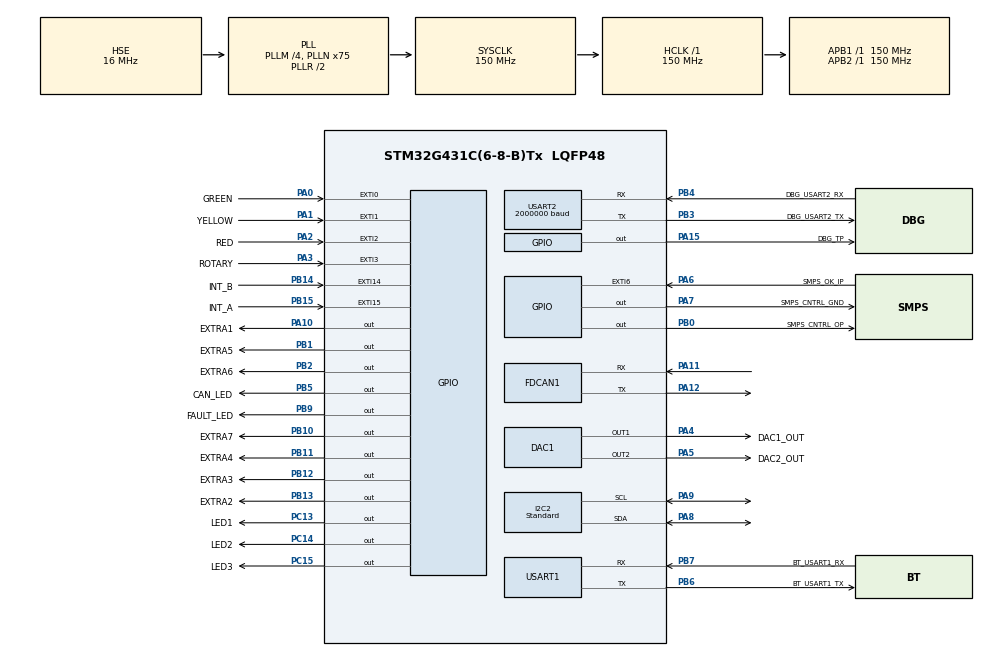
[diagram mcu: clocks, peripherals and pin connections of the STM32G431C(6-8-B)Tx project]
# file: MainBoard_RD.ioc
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DAC1.DAC_Channel-DAC_OUT2=DAC_CHANNEL_2
Dma.Request0=USART1_RX
Dma.Request1=USART2_TX
Dma.USART1_RX.0.Direction=DMA_PERIPH_TO_MEMORY
Dma.USART1_RX.0.EventEnable=DISABLE
Dma.USART1_RX.0.Instance=DMA1_Channel1
Dma.USART1_RX.0.MemDataAlignment=DMA_MDATAALIGN_BYTE
Dma.USART1_RX.0.MemInc=DMA_MINC_ENABLE
Dma.USART1_RX.0.Mode=DMA_NORMAL
Dma.USART1_RX.0.PeriphDataAlignment=DMA_PDATAALIGN_BYTE
Dma.USART1_RX.0.PeriphInc=DMA_PINC_DISABLE
Dma.USART1_RX.0.Polarity=HAL_DMAMUX_REQ_GEN_RISING
Dma.USART1_RX.0.Priority=DMA_PRIORITY_LOW
Dma.USART1_RX.0.RequestNumber=1
Dma.USART1_RX.0.SignalID=NONE
Dma.USART1_RX.0.SyncEnable=DISABLE
Dma.USART1_RX.0.SyncPolarity=HAL_DMAMUX_SYNC_NO_EVENT
Dma.USART1_RX.0.SyncRequestNumber=1
Dma.USART1_RX.0.SyncSignalID=NONE
Dma.USART2_TX.1.Direction=DMA_MEMORY_TO_PERIPH
Dma.USART2_TX.1.EventEnable=DISABLE
Dma.USART2_TX.1.Instance=DMA1_Channel2
Dma.USART2_TX.1.MemDataAlignment=DMA_MDATAALIGN_BYTE
Dma.USART2_TX.1.MemInc=DMA_MINC_ENABLE
Dma.USART2_TX.1.Mode=DMA_NORMAL
Dma.USART2_TX.1.PeriphDataAlignment=DMA_PDATAALIGN_BYTE
Dma.USART2_TX.1.PeriphInc=DMA_PINC_DISABLE
Dma.USART2_TX.1.Polarity=HAL_DMAMUX_REQ_GEN_RISING
Dma.USART2_TX.1.Priority=DMA_PRIORITY_LOW
Dma.USART2_TX.1.RequestNumber=1
Dma.USART2_TX.1.SignalID=NONE
Dma.USART2_TX.1.SyncEnable=DISABLE
Dma.USART2_TX.1.SyncPolarity=HAL_DMAMUX_SYNC_NO_EVENT
Dma.USART2_TX.1.SyncRequestNumber=1
Dma.USART2_TX.1.SyncSignalID=NONE
FDCAN1.AutoRetransmission=ENABLE
FDCAN1.CalculateBaudRateNominal=5000000
FDCAN1.CalculateTimeBitNominal=200
FDCAN1.CalculateTimeQuantumNominal=6.666666666666667
FDCAN1.ClockDivider=FDCAN_CLOCK_DIV10
FDCAN1.DataSyncJumpWidth=3
FDCAN1.DataTimeSeg1=11
FDCAN1.DataTimeSeg2=3
FDCAN1.ExtFiltersNbr=1
FDCAN1.FrameFormat=FDCAN_FRAME_FD_BRS
FDCAN1.NominalPrescaler=1
FDCAN1.NominalSyncJumpWidth=6
FDCAN1.NominalTimeSeg1=23
FDCAN1.NominalTimeSeg2=6
FDCAN1.ProtocolException=DISABLE
FDCAN1.StdFiltersNbr=1
FDCAN1.TransmitPause=ENABLE
I2C2.Analog_Filter=I2C_ANALOGFILTER_DISABLE
I2C2.I2C_Fall_Time=200
I2C2.I2C_Rise_Time=300
I2C2.I2C_Speed_Mode=I2C_Standard
I2C2.NoStretchMode=I2C_NOSTRETCH_DISABLE
I2C2.Speed=50
I2C2.Timing=0x50D4E6FF
Mcu.Family=STM32G4
Mcu.Name=STM32G431C(6-8-B)Tx
Mcu.Package=LQFP48
NVIC.DMA1_Channel1_IRQn=true\:3\:0\:true\:false\:true\:false\:true\:true
NVIC.DMA1_Channel2_IRQn=true\:3\:0\:true\:false\:true\:false\:true\:true
NVIC.EXTI0_IRQn=true\:2\:0\:true\:false\:true\:true\:true\:true
NVIC.EXTI15_10_IRQn=true\:3\:0\:true\:false\:true\:true\:true\:true
NVIC.EXTI1_IRQn=true\:2\:0\:true\:false\:true\:true\:true\:true
NVIC.EXTI2_IRQn=true\:2\:0\:true\:false\:true\:true\:true\:true
NVIC.EXTI3_IRQn=true\:2\:0\:true\:false\:true\:true\:true\:true
NVIC.EXTI9_5_IRQn=true\:2\:0\:true\:false\:true\:true\:true\:true
NVIC.FDCAN1_IT0_IRQn=true\:0\:0\:false\:false\:true\:true\:true\:true
NVIC.PriorityGroup=NVIC_PRIORITYGROUP_4
NVIC.TIM1_BRK_TIM15_IRQn=true\:0\:0\:false\:false\:true\:true\:true\:true
NVIC.TIM1_TRG_COM_TIM17_IRQn=true\:5\:0\:true\:false\:true\:true\:true\:true
NVIC.TIM1_UP_TIM16_IRQn=true\:1\:0\:true\:false\:true\:true\:true\:true
NVIC.TIM6_DAC_IRQn=true\:0\:0\:false\:false\:true\:true\:true\:true
NVIC.TIM7_IRQn=true\:0\:0\:false\:false\:true\:true\:true\:true
NVIC.USART1_IRQn=true\:1\:0\:true\:false\:true\:true\:true\:true
NVIC.USART2_IRQn=true\:15\:0\:true\:false\:true\:true\:true\:true
PA0.GPIO_Label=GREEN
PA0.GPIO_ModeDefaultEXTI=GPIO_MODE_IT_RISING_FALLING
PA0.GPIO_PuPd=GPIO_PULLUP
PA0.Signal=GPXTI0
PA1.GPIO_Label=YELLOW
PA1.GPIO_ModeDefaultEXTI=GPIO_MODE_IT_RISING_FALLING
PA1.GPIO_PuPd=GPIO_PULLUP
PA1.Signal=GPXTI1
PA10.GPIO_Label=EXTRA1
PA10.Signal=GPIO_Output
PA11.Mode=FDCAN_Activate
PA11.Signal=FDCAN1_RX
PA12.Mode=FDCAN_Activate
PA12.Signal=FDCAN1_TX
PA13.Mode=Serial_Wire
PA13.Signal=SYS_JTMS-SWDIO
PA14.Mode=Serial_Wire
PA14.Signal=SYS_JTCK-SWCLK
PA15.GPIO_Label=DBG_TP
PA15.Signal=GPIO_Output
PA2.GPIO_Label=RED
PA2.GPIO_ModeDefaultEXTI=GPIO_MODE_IT_RISING_FALLING
PA2.GPIO_PuPd=GPIO_PULLUP
PA2.Signal=GPXTI2
PA3.GPIO_Label=ROTARY
PA3.GPIO_ModeDefaultEXTI=GPIO_MODE_IT_RISING_FALLING
PA3.GPIO_PuPd=GPIO_PULLUP
PA3.Signal=GPXTI3
PA4.GPIO_Label=DAC1_OUT
PA4.Signal=COMP_DAC11_group
PA5.GPIO_Label=DAC2_OUT
PA5.Signal=COMP_DAC12_group
PA6.GPIO_Label=SMPS_OK_IP
PA6.GPIO_ModeDefaultEXTI=GPIO_MODE_IT_RISING_FALLING
PA6.Signal=GPXTI6
PA7.GPIO_Label=SMPS_CNTRL_GND
PA7.Signal=GPIO_Output
PA8.Mode=I2C
PA8.Signal=I2C2_SDA
PA9.Mode=I2C
PA9.Signal=I2C2_SCL
PB0.GPIO_Label=SMPS_CNTRL_OP
PB0.Signal=GPIO_Output
PB1.GPIO_Label=EXTRA5
PB1.Signal=GPIO_Output
PB10.GPIO_Label=EXTRA7
PB10.Signal=GPIO_Output
PB11.GPIO_Label=EXTRA4
PB11.Signal=GPIO_Output
PB12.GPIO_Label=EXTRA3
PB12.Signal=GPIO_Output
PB13.GPIO_Label=EXTRA2
PB13.Signal=GPIO_Output
PB14.GPIO_Label=INT_B
PB14.GPIO_ModeDefaultEXTI=GPIO_MODE_IT_FALLING
PB14.Signal=GPXTI14
PB15.GPIO_Label=INT_A
PB15.GPIO_ModeDefaultEXTI=GPIO_MODE_IT_FALLING
PB15.Signal=GPXTI15
PB2.GPIO_Label=EXTRA6
PB2.Signal=GPIO_Output
PB3.GPIO_Label=DBG_USART2_TX
PB3.Mode=Asynchronous
PB3.Signal=USART2_TX
PB4.GPIO_Label=DBG_USART2_RX
PB4.Mode=Asynchronous
PB4.Signal=USART2_RX
PB5.GPIO_Label=CAN_LED
PB5.Signal=GPIO_Output
PB6.GPIO_Label=BT_USART1_TX
PB6.Mode=Asynchronous
PB6.Signal=USART1_TX
PB7.GPIO_Label=BT_USART1_RX
PB7.Mode=Asynchronous
PB7.Signal=USART1_RX
PB9.GPIO_Label=FAULT_LED
PB9.Signal=GPIO_Output
PC13.GPIO_Label=LED1
PC13.GPIO_ModeDefaultOutputPP=GPIO_MODE_OUTPUT_PP
PC13.GPIO_PuPd=GPIO_NOPULL
PC13.Signal=GPIO_Output
PC14-OSC32_IN.GPIO_Label=LED2
PC14-OSC32_IN.GPIO_ModeDefaultOutputPP=GPIO_MODE_OUTPUT_PP
PC14-OSC32_IN.GPIO_PuPd=GPIO_NOPULL
PC14-OSC32_IN.Signal=GPIO_Output
PC15-OSC32_OUT.GPIO_Label=LED3
PC15-OSC32_OUT.GPIO_ModeDefaultOutputPP=GPIO_MODE_OUTPUT_PP
PC15-OSC32_OUT.GPIO_PuPd=GPIO_NOPULL
PC15-OSC32_OUT.Signal=GPIO_Output
PF0-OSC_IN.Mode=HSE-External-Oscillator
PF0-OSC_IN.Signal=RCC_OSC_IN
PF1-OSC_OUT.Mode=HSE-External-Oscillator
PF1-OSC_OUT.Signal=RCC_OSC_OUT
ProjectManager.HeapSize=0x200
ProjectManager.StackSize=0x400
ProjectManager.TargetToolchain=STM32CubeIDE
RCC.ADC12Freq_Value=150000000
RCC.AHBFreq_Value=150000000
RCC.APB1Freq_Value=150000000
RCC.APB1TimFreq_Value=150000000
RCC.APB2Freq_Value=150000000
RCC.APB2TimFreq_Value=150000000
RCC.CortexFreq_Value=150000000
RCC.EXTERNAL_CLOCK_VALUE=12288000
RCC.HCLKFreq_Value=150000000
RCC.HSE_VALUE=16000000
RCC.HSI48_VALUE=48000000
RCC.HSI_VALUE=16000000
RCC.LSE_VALUE=32768
RCC.PLLM=RCC_PLLM_DIV4
RCC.PLLN=75
RCC.PLLSourceVirtual=RCC_PLLSOURCE_HSE
RCC.SYSCLKFreq_VALUE=150000000
RCC.SYSCLKSource=RCC_SYSCLKSOURCE_PLLCLK
RCC.USBFreq_Value=150000000
RCC.VCOOutputFreq_Value=300000000
SH.COMP_DAC11_group.0=DAC1_OUT1,DAC_OUT1
SH.COMP_DAC12_group.0=DAC1_OUT2,DAC_OUT2
TIM15.PeriodNoDither=24999
TIM15.Prescaler=1499
TIM16.AutoReloadPreload=TIM_AUTORELOAD_PRELOAD_ENABLE
TIM16.Dithering=Disable
TIM16.PeriodNoDither=4999
TIM16.Prescaler=29999
TIM17.AutoReloadPreload=TIM_AUTORELOAD_PRELOAD_ENABLE
TIM17.PeriodNoDither=1499
TIM17.Prescaler=1499
TIM6.PeriodNoDither=49999
TIM6.Prescaler=1499
TIM7.PeriodNoDither=9999
TIM7.Prescaler=1499
USART1.DMADisableonRxErrorParam=ADVFEATURE_DMA_DISABLEONRXERROR
USART1.OverrunDisableParam=ADVFEATURE_OVERRUN_DISABLE
USART1.SwapParam=ADVFEATURE_SWAP_ENABLE
USART1.VirtualMode-Asynchronous=VM_ASYNC
USART2.BaudRate=2000000
USART2.VirtualMode-Asynchronous=VM_ASYNC
VP_TIM15_VS_ClockSourceINT.Mode=Internal
VP_TIM16_VS_ClockSourceINT.Mode=Enable_Timer
VP_TIM17_VS_ClockSourceINT.Mode=Enable_Timer
VP_TIM6_VS_ClockSourceINT.Mode=Enable_Timer
VP_TIM7_VS_ClockSourceINT.Mode=Enable_Timer
board=custom

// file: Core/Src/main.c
/* USER CODE BEGIN Header */
/**
  ******************************************************************************
  * @file           : main.c
  * @brief          : Main program body
  ******************************************************************************
  * @attention
  *
  * Copyright (c) 2022 STMicroelectronics.
  * All rights reserved.
  *
  * This software is licensed under terms that can be found in the LICENSE file
  * in the root directory of this software component.
  * If no LICENSE file comes with this software, it is provided AS-IS.
  *
  ******************************************************************************
  */
/* USER CODE END Header */
#include "main.h"

/* USER CODE BEGIN Includes */
#include "FDCAN.h"
#include "CAN_MotherBoard.h"
#include "Ack.h"

#include "machineSettings.h"
#include "MachineErrors.h"
#include "MotorComms.h"
#include "SysObserver.h"

#include "VFD.h"
#include "userButtons.h"
#include "TowerLamp.h"
#include "SMPS.h"
#include "MachineSensors.h"
#include "mcp23017.h"
#include "Eeprom.h"
#include "Log.h"

#include "Struct.h"
#include "StateMachine.h"
#include "CommonConstants.h"

#include "BT_Fns.h"
#include "BT_Machine.h"
#include "BT_Console.h"

#include "MB_LEDs.h"

/* USER CODE END Includes */

/* USER CODE BEGIN PTD */
#define MCP23017_ADDRESS	0x21
/* USER CODE END PTD */

DAC_HandleTypeDef hdac1;

FDCAN_HandleTypeDef hfdcan1;

I2C_HandleTypeDef hi2c2;

TIM_HandleTypeDef htim6;
TIM_HandleTypeDef htim7;
TIM_HandleTypeDef htim15;
TIM_HandleTypeDef htim16;
TIM_HandleTypeDef htim17;

UART_HandleTypeDef huart1;
UART_HandleTypeDef huart2;
DMA_HandleTypeDef hdma_usart1_rx;
DMA_HandleTypeDef hdma_usart2_tx;

/* USER CODE BEGIN PV */
machineSettingsTypeDef msp;
machineSettingsTypeDef msp_BT;
machineParamsTypeDef mcParams;
MBErrorsTypeDef MBE;
MachineErrorsTypedef ME;

SetupMotor SU[3];
ACKTypeDef ack;

StateTypeDef S;
DiagnosticsTypeDef D;
RunTime_TypeDef R[6]; // always keep this as 6, as max is 6 for carding

SysObserver SO;
BTRecvMsg_TypeDef BT;
BTConsole BTCmd;
GB_diag GBD;

userBtns usrBtns;
MCP23017_HandleTypeDef hmcp;
MCP23017_PortB mcp_portB;
MCP23017_PortA mcp_portA;
MCP23017_PortB mcp_portB_whichSensor;
MCP23017_PortB mcp_portB_sensorVal;
SensorTypeDef sensor;
VFD vfd;
Log L;

char BufferRec[150];
char BufferTransmit[150] ;// Buffer for Transmit
char LogBuffer[2048];

/* USER CODE END PV */

void SystemClock_Config(void);
static void MX_GPIO_Init(void);
static void MX_DMA_Init(void);
static void MX_FDCAN1_Init(void);
static void MX_USART1_UART_Init(void);
static void MX_DAC1_Init(void);
static void MX_USART2_UART_Init(void);
static void MX_I2C2_Init(void);
static void MX_TIM17_Init(void);
static void MX_TIM16_Init(void);
static void MX_TIM15_Init(void);
static void MX_TIM7_Init(void);
static void MX_TIM6_Init(void);

/* USER CODE BEGIN 0 */

uint8_t stopSMPS = 0;
uint8_t timer7Count = 0;

void HAL_TIM_PeriodElapsedCallback(TIM_HandleTypeDef *htim)
{
  UNUSED(htim);
  if(htim==&htim17){	// ACK TIMER - 15ms
	ack.waitingForAckResult = 0;
	if (ack.motorAcksCheck == ack.motorAcksRecvd){
		ack.ackResult = ACK_SUCCESS;
	}else{
		ack.ackResult = ACK_FAIL;
		if (ack.ackChkType == CRITICAL_ACK){
			ME.ErrorFlag = 1;
			ME_addErrors(&ME,ERR_SYSTEM_LEVEL_SOURCE, SYS_ACK_ERROR, ERROR_SOURCE_SYSTEM, ack.ackForWhat); // maybe later find out which ACK failed.
			S.SMPS_switchOff = 1;
		}
	}
	HAL_TIM_Base_Stop_IT(&htim17);
  }

  if (htim == &htim16){ // 1 sec timer that checks if the CAN connections are all OK.
	  SO.canOverallStatus = SO_checkCanObservers(&SO); // FOR RD weve set the threshold to 2,and seen that 4, during binding end is what we get.
	  /*if (SO.canOverallStatus != ALL_CANS_HEALTHY){
		  ME.ErrorFlag = 1;
		  ME_addErrors(&ME,ERR_SYSTEM_LEVEL_SOURCE,SYS_CAN_CUT_ERROR, SO.canOverallStatus, 0); // maybe later find out which ACK failed.
		  S.SMPS_switchOff = 1;
		  //stp the timer if you find you have an error.
		  HAL_TIM_Base_Stop_IT(&htim16);
	  }*/
  }

  if(htim==&htim15){
	  // This is meant to send motor run time data to the app when diag is running.
	  // only 1 motor, the calender roller, other wise lift both.
	  if (D.motorID > 7){
		  uint8_t packetSize = BT_MC_generateDiagnosticMsg(D.motorID);
		  HAL_UART_Transmit_IT(&huart1,(uint8_t*)BufferTransmit,packetSize);
	  }
	  else{
		  // finding which motors happens inside.
		  uint8_t packetSize = BT_MC_generateDiagnosticMsg_DoubleMotors(D.motorID);
		  HAL_UART_Transmit_IT(&huart1,(uint8_t*)BufferTransmit,packetSize);
	  }
  }

  if(htim == &htim7){ //100ms timer for state sending to BT
	  timer7Count ++;
	  if (timer7Count % 5 == 0){
		  S.BT_sendState = 1;
	  }
	  if (timer7Count == 10){
		  S.oneSecTimer++;
		  timer7Count = 0;
		  Toggle_State_LEDs(&S);
		  //calculate doff Percent
		  mcParams.doffPercent = (((float)mcParams.currentStrokeNo)/mcParams.RD.strokesPerDoff)*100.0;
		  if (mcParams.doffPercent <0.01){
			  mcParams.doffPercent = 0.01;
		  }
		  if (S.runMode == RUN_OPERATING){
			  mcParams.lengthDeliveredPerSpindle += mcParams.RD.delivery_MtrMin/60;
		  }

	  }
	  //send data in GB calib state every 100 ms
	  if (S.current_state == GB_CALIB_STATE){
		  S.BT_send_GBcalibData = 1;
	  }
  }

  if(htim == &htim6){ //500ms delay to start checking lift relative data
	  SO.initialLiftPosRecieved= 1;
	  HAL_TIM_Base_Stop_IT(&htim6);
  }

}

uint8_t sensorTrigger;
uint8_t sensorVal;
void HAL_GPIO_EXTI_Callback(uint16_t GPIO_Pin){
	UNUSED(GPIO_Pin);

	if (GPIO_Pin == SMPS_OK_IP_Pin){
		// if the mother board has turned the SMPS on, but the smps is off, we have a problem!
		S.SMPS_OK_signal = (uint8_t)(HAL_GPIO_ReadPin(SMPS_OK_IP_GPIO_Port, SMPS_OK_IP_Pin));
		if ((S.SMPS_cntrl == SMPS_TURNEDON) && (S.SMPS_OK_signal == SMPS_OFF)){
			ME.ErrorFlag = 1;
			ME_addErrors(&ME,ERR_SYSTEM_LEVEL_SOURCE, SYS_SMPS_ERROR, ERROR_SOURCE_SYSTEM,0); // maybe later find out which ACK failed.
			S.SMPS_switchOff = 1;
		}
	}
	else{
		// for the user input buttons - RED_pin,Green_Pin,Yellow_Pin are falling edge interrupts. Rotary_Pin is both
		 usrBtns.initialState =(uint8_t)(HAL_GPIO_ReadPin(RED_GPIO_Port, GPIO_Pin));
		 if (GPIO_Pin == RED_Pin){
			  usrBtns.redBtn = usrBtns.initialState;
		  }
		  else if (GPIO_Pin == GREEN_Pin){
			  usrBtns.greenBtn = usrBtns.initialState;
		  }
		  else if (GPIO_Pin == YELLOW_Pin){
			  usrBtns.yellowBtn = usrBtns.initialState;
		  }else{
			  usrBtns.rotarySwitch = usrBtns.initialState;
		  }
	}
}

void HAL_FDCAN_RxFifo0Callback(FDCAN_HandleTypeDef *hfdcan, uint32_t RxFifo0ITs)
{

  if((RxFifo0ITs & FDCAN_IT_RX_FIFO0_NEW_MESSAGE) != RESET)
  {
    /* Retreive Rx messages from RX FIFO0 */
    if (HAL_FDCAN_GetRxMessage(hfdcan, FDCAN_RX_FIFO0, &RxHeader, RxData) == HAL_OK)
    {
    	FDCAN_parseForMotherBoard();
    }
    if (HAL_FDCAN_ActivateNotification(hfdcan, FDCAN_IT_RX_FIFO0_NEW_MESSAGE, 0) != HAL_OK)
    {
      /* Notification Error */
      Error_Handler();
    }
  }
}
/* USER CODE END 0 */

int main(void)
{

  /* MCU Configuration--------------------------------------------------------*/

  /* Reset of all peripherals, Initializes the Flash interface and the Systick. */
  HAL_Init();

  /* Configure the system clock */
  SystemClock_Config();

  /* Initialize all configured peripherals */
  MX_GPIO_Init();
  MX_DMA_Init();
  MX_FDCAN1_Init();
  MX_USART1_UART_Init();
  MX_DAC1_Init();
  MX_USART2_UART_Init();
  MX_I2C2_Init();
  MX_TIM17_Init();
  MX_TIM16_Init();
  MX_TIM15_Init();
  MX_TIM7_Init();
  MX_TIM6_Init();
  /* USER CODE BEGIN 2 */

  //SInitialize custom typeDefs
  InitializeDiagnostic_TypeDef(&D);
  InitializeMotherBoardErrors_TypeDef(&MBE);
  InitializeState_TypeDef(&S);
  InitializeRunTime_TypeDef();
  InitializeBTMsg_TypeDef(&BT);

  FDCAN_TxInit();
  FDCAN_RxFilterInit();

  //get Flyer Settings from Eeprom
  ReadMachineSettingsFromEeprom(&msp);
  //TODO change this to the setup method like in the motor sections.
  MBE.EepromLoadValsGood  = CheckMachineSettings(&msp);
  //MBE.EepromLoadValsGood = 0;
  if (MBE.EepromLoadValsGood == 0){
	  LoadDefaultMachineSettings(&msp);
	  //manualWrite
	  /*msp.inputYarnCountNe = 20;
	  msp.outputYarnDia = 0.40;
	  msp.spindleSpeed = 8000;
	  msp.tpi = 14;
	  msp.diaBuildFactor = 0.12;
	  msp.windingClosenessFactor = 108;
	  msp.windingOffsetCoils = 2;*/
	  MBE.defaults_eepromWriteFailed = WriteMachineSettingsIntoEeprom(&msp);
  }
  CalculateMachineParameters(&msp,&mcParams);
  SetupMachineParametersForFirstLayer(&mcParams);
  ReadySetupCommand_AllMotors(&msp,&mcParams);
  //set up the spindleSpeed
  uint8_t spindleSpeedCode =  VFD_getSpindleSpeedCode(msp.spindleSpeed);
  VFD_setSpindleSpeed(&vfd, spindleSpeedCode); //set this based on settings
  SO_Reset_InitialLiftPosRecieved(&SO);

  //Interrupts on UART1 connected to the bluetooth
  __HAL_UART_ENABLE_IT(&huart1,UART_IT_IDLE);//interrupt on receive buffer not empty(buffer full)
  __HAL_UART_ENABLE_IT(&huart1,UART_IT_TC );//interrupt on Transmission Complete
  HAL_UART_Receive_DMA(&huart1,(uint8_t *)BufferRec,150);	 // start the receive here.
  __HAL_UART_ENABLE_IT(&huart2,UART_IT_TC );//interrupt on Transmission Complete

  //set up MCP chip
  mcp23017_init(&hmcp, &hi2c2, MCP23017_ADDRESS);
  mcp23017_setupForMainBoard(&hmcp);
  //set the initial Tower Lamp State
  TowerLamp_SetState(&hmcp, &mcp_portB,BUZZER_OFF,RED_OFF,GREEN_OFF,AMBER_OFF);
  TowerLamp_ApplyState(&hmcp,&mcp_portB);
  VFD_TurnOff(&vfd,&hmcp,&mcp_portA);

  //read initial btns states and set either setup or run state.
  UsrBtns_SetInitialStates();
  if (usrBtns.rotarySwitch == ROTARY_SWITCH_OFF){
	  S.idleMode = IDLE_SETUP;
  }else{
	  S.idleMode = IDLE_RUN;
  }
  S.current_state = INITIAL_STATE;
  ChangeState(&S,IDLE_STATE);

  //Setup the Bluetooth device MANUALLY ONLY.
  BTCmd.manual_setup = 1;
  if (BTCmd.manual_setup){
	  BTCmd.manual_setup_result = BT_SetupDevice();
	  if(BTCmd.manual_setup_result != 1){
		 BTCmd.manual_setup_rebootOK = BTConsole_WriteCMD(BTCMD_REBOOT);
	  }
  }

  //Start the 100 msec Timer for sending BT state commands
  HAL_TIM_Base_Start_IT(&htim7);
  //Start the 1000 msec Timer for checking if the CAN bus is Ok
  HAL_TIM_Base_Start_IT(&htim16);

  //SMPS - turn on the SMPS, wait a while to see if  short command.
  SMPS_Init();
  HAL_Delay(1000);//contactor takes a long time to turn on.
  S.SMPS_cntrl = SMPS_TURNEDON;
  /* USER CODE END 2 */

  /* Infinite loop */
  /* USER CODE BEGIN WHILE */

  while (1)
  {

	if (S.current_state == IDLE_STATE){
		IdleState();
	}

	if (S.current_state == HOMING_STATE){
		HomingState();
	}

	if (S.current_state == RUN_STATE){
		RunState();
	}

	if (S.current_state == DEBUG_STATE){
		DebugState();
	}

	if (S.current_state == DIAGNOSTICS_STATE){
		DiagnosticsState();
	}

	if (S.current_state == SETTINGS_STATE){
		SettingsState();
	}

	if (S.current_state == ERROR_STATE){
		ErrorState();
	}

	if (S.current_state == GB_CALIB_STATE){
		GB_CalibrationState();
	}

	if (S.current_state == FINISHED_STATE){
		FinishState();
	}

    /* USER CODE END WHILE */

  }
}

void SystemClock_Config(void)
{
  RCC_OscInitTypeDef RCC_OscInitStruct = {0};
  RCC_ClkInitTypeDef RCC_ClkInitStruct = {0};

  /** Configure the main internal regulator output voltage
  */
  HAL_PWREx_ControlVoltageScaling(PWR_REGULATOR_VOLTAGE_SCALE1);

  /** Initializes the RCC Oscillators according to the specified parameters
  * in the RCC_OscInitTypeDef structure.
  */
  RCC_OscInitStruct.OscillatorType = RCC_OSCILLATORTYPE_HSE;
  RCC_OscInitStruct.HSEState = RCC_HSE_ON;
  RCC_OscInitStruct.PLL.PLLState = RCC_PLL_ON;
  RCC_OscInitStruct.PLL.PLLSource = RCC_PLLSOURCE_HSE;
  RCC_OscInitStruct.PLL.PLLM = RCC_PLLM_DIV4;
  RCC_OscInitStruct.PLL.PLLN = 75;
  RCC_OscInitStruct.PLL.PLLP = RCC_PLLP_DIV2;
  RCC_OscInitStruct.PLL.PLLQ = RCC_PLLQ_DIV2;
  RCC_OscInitStruct.PLL.PLLR = RCC_PLLR_DIV2;
  if (HAL_RCC_OscConfig(&RCC_OscInitStruct) != HAL_OK)
  {
    Error_Handler();
  }

  /** Initializes the CPU, AHB and APB buses clocks
  */
  RCC_ClkInitStruct.ClockType = RCC_CLOCKTYPE_HCLK|RCC_CLOCKTYPE_SYSCLK
                              |RCC_CLOCKTYPE_PCLK1|RCC_CLOCKTYPE_PCLK2;
  RCC_ClkInitStruct.SYSCLKSource = RCC_SYSCLKSOURCE_PLLCLK;
  RCC_ClkInitStruct.AHBCLKDivider = RCC_SYSCLK_DIV1;
  RCC_ClkInitStruct.APB1CLKDivider = RCC_HCLK_DIV1;
  RCC_ClkInitStruct.APB2CLKDivider = RCC_HCLK_DIV1;

  if (HAL_RCC_ClockConfig(&RCC_ClkInitStruct, FLASH_LATENCY_4) != HAL_OK)
  {
    Error_Handler();
  }
}

static void MX_DAC1_Init(void)
{

  DAC_ChannelConfTypeDef sConfig = {0};

  /** DAC Initialization
  */
  hdac1.Instance = DAC1;
  if (HAL_DAC_Init(&hdac1) != HAL_OK)
  {
    Error_Handler();
  }

  /** DAC channel OUT1 config
  */
  sConfig.DAC_HighFrequency = DAC_HIGH_FREQUENCY_INTERFACE_MODE_AUTOMATIC;
  sConfig.DAC_DMADoubleDataMode = DISABLE;
  sConfig.DAC_SignedFormat = DISABLE;
  sConfig.DAC_SampleAndHold = DAC_SAMPLEANDHOLD_DISABLE;
  sConfig.DAC_Trigger = DAC_TRIGGER_NONE;
  sConfig.DAC_Trigger2 = DAC_TRIGGER_NONE;
  sConfig.DAC_OutputBuffer = DAC_OUTPUTBUFFER_ENABLE;
  sConfig.DAC_ConnectOnChipPeripheral = DAC_CHIPCONNECT_EXTERNAL;
  sConfig.DAC_UserTrimming = DAC_TRIMMING_FACTORY;
  if (HAL_DAC_ConfigChannel(&hdac1, &sConfig, DAC_CHANNEL_1) != HAL_OK)
  {
    Error_Handler();
  }

  /** DAC channel OUT2 config
  */
  if (HAL_DAC_ConfigChannel(&hdac1, &sConfig, DAC_CHANNEL_2) != HAL_OK)
  {
    Error_Handler();
  }

}

static void MX_FDCAN1_Init(void)
{

  hfdcan1.Instance = FDCAN1;
  hfdcan1.Init.ClockDivider = FDCAN_CLOCK_DIV10;
  hfdcan1.Init.FrameFormat = FDCAN_FRAME_FD_BRS;
  hfdcan1.Init.Mode = FDCAN_MODE_NORMAL;
  hfdcan1.Init.AutoRetransmission = ENABLE;
  hfdcan1.Init.TransmitPause = ENABLE;
  hfdcan1.Init.ProtocolException = DISABLE;
  hfdcan1.Init.NominalPrescaler = 1;
  hfdcan1.Init.NominalSyncJumpWidth = 6;
  hfdcan1.Init.NominalTimeSeg1 = 23;
  hfdcan1.Init.NominalTimeSeg2 = 6;
  hfdcan1.Init.DataPrescaler = 1;
  hfdcan1.Init.DataSyncJumpWidth = 3;
  hfdcan1.Init.DataTimeSeg1 = 11;
  hfdcan1.Init.DataTimeSeg2 = 3;
  hfdcan1.Init.StdFiltersNbr = 1;
  hfdcan1.Init.ExtFiltersNbr = 1;
  hfdcan1.Init.TxFifoQueueMode = FDCAN_TX_FIFO_OPERATION;
  if (HAL_FDCAN_Init(&hfdcan1) != HAL_OK)
  {
    Error_Handler();
  }

}

static void MX_I2C2_Init(void)
{

  hi2c2.Instance = I2C2;
  hi2c2.Init.Timing = 0x50D4E6FF;
  hi2c2.Init.OwnAddress1 = 0;
  hi2c2.Init.AddressingMode = I2C_ADDRESSINGMODE_7BIT;
  hi2c2.Init.DualAddressMode = I2C_DUALADDRESS_DISABLE;
  hi2c2.Init.OwnAddress2 = 0;
  hi2c2.Init.OwnAddress2Masks = I2C_OA2_NOMASK;
  hi2c2.Init.GeneralCallMode = I2C_GENERALCALL_DISABLE;
  hi2c2.Init.NoStretchMode = I2C_NOSTRETCH_DISABLE;
  if (HAL_I2C_Init(&hi2c2) != HAL_OK)
  {
    Error_Handler();
  }

  /** Configure Analogue filter
  */
  if (HAL_I2CEx_ConfigAnalogFilter(&hi2c2, I2C_ANALOGFILTER_DISABLE) != HAL_OK)
  {
    Error_Handler();
  }

  /** Configure Digital filter
  */
  if (HAL_I2CEx_ConfigDigitalFilter(&hi2c2, 0) != HAL_OK)
  {
    Error_Handler();
  }

}

static void MX_TIM6_Init(void)
{

  TIM_MasterConfigTypeDef sMasterConfig = {0};

  htim6.Instance = TIM6;
  htim6.Init.Prescaler = 1499;
  htim6.Init.CounterMode = TIM_COUNTERMODE_UP;
  htim6.Init.Period = 49999;
  htim6.Init.AutoReloadPreload = TIM_AUTORELOAD_PRELOAD_DISABLE;
  if (HAL_TIM_Base_Init(&htim6) != HAL_OK)
  {
    Error_Handler();
  }
  sMasterConfig.MasterOutputTrigger = TIM_TRGO_RESET;
  sMasterConfig.MasterSlaveMode = TIM_MASTERSLAVEMODE_DISABLE;
  if (HAL_TIMEx_MasterConfigSynchronization(&htim6, &sMasterConfig) != HAL_OK)
  {
    Error_Handler();
  }

}

static void MX_TIM7_Init(void)
{

  TIM_MasterConfigTypeDef sMasterConfig = {0};

  htim7.Instance = TIM7;
  htim7.Init.Prescaler = 1499;
  htim7.Init.CounterMode = TIM_COUNTERMODE_UP;
  htim7.Init.Period = 9999;
  htim7.Init.AutoReloadPreload = TIM_AUTORELOAD_PRELOAD_DISABLE;
  if (HAL_TIM_Base_Init(&htim7) != HAL_OK)
  {
    Error_Handler();
  }
  sMasterConfig.MasterOutputTrigger = TIM_TRGO_RESET;
  sMasterConfig.MasterSlaveMode = TIM_MASTERSLAVEMODE_DISABLE;
  if (HAL_TIMEx_MasterConfigSynchronization(&htim7, &sMasterConfig) != HAL_OK)
  {
    Error_Handler();
  }

}

static void MX_TIM15_Init(void)
{

  TIM_ClockConfigTypeDef sClockSourceConfig = {0};
  TIM_MasterConfigTypeDef sMasterConfig = {0};

  htim15.Instance = TIM15;
  htim15.Init.Prescaler = 1499;
  htim15.Init.CounterMode = TIM_COUNTERMODE_UP;
  htim15.Init.Period = 24999;
  htim15.Init.ClockDivision = TIM_CLOCKDIVISION_DIV1;
  htim15.Init.RepetitionCounter = 0;
  htim15.Init.AutoReloadPreload = TIM_AUTORELOAD_PRELOAD_DISABLE;
  if (HAL_TIM_Base_Init(&htim15) != HAL_OK)
  {
    Error_Handler();
  }
  sClockSourceConfig.ClockSource = TIM_CLOCKSOURCE_INTERNAL;
  if (HAL_TIM_ConfigClockSource(&htim15, &sClockSourceConfig) != HAL_OK)
  {
    Error_Handler();
  }
  sMasterConfig.MasterOutputTrigger = TIM_TRGO_RESET;
  sMasterConfig.MasterSlaveMode = TIM_MASTERSLAVEMODE_DISABLE;
  if (HAL_TIMEx_MasterConfigSynchronization(&htim15, &sMasterConfig) != HAL_OK)
  {
    Error_Handler();
  }

}

static void MX_TIM16_Init(void)
{

  htim16.Instance = TIM16;
  htim16.Init.Prescaler = 29999;
  htim16.Init.CounterMode = TIM_COUNTERMODE_UP;
  htim16.Init.Period = 4999;
  htim16.Init.ClockDivision = TIM_CLOCKDIVISION_DIV1;
  htim16.Init.RepetitionCounter = 0;
  htim16.Init.AutoReloadPreload = TIM_AUTORELOAD_PRELOAD_ENABLE;
  if (HAL_TIM_Base_Init(&htim16) != HAL_OK)
  {
    Error_Handler();
  }

}

static void MX_TIM17_Init(void)
{

  /* USER CODE BEGIN TIM17_Init 1 */
//2uS timer
  /* USER CODE END TIM17_Init 1 */
  htim17.Instance = TIM17;
  htim17.Init.Prescaler = 1499;
  htim17.Init.CounterMode = TIM_COUNTERMODE_UP;
  htim17.Init.Period = 1499;
  htim17.Init.ClockDivision = TIM_CLOCKDIVISION_DIV1;
  htim17.Init.RepetitionCounter = 0;
  htim17.Init.AutoReloadPreload = TIM_AUTORELOAD_PRELOAD_ENABLE;
  if (HAL_TIM_Base_Init(&htim17) != HAL_OK)
  {
    Error_Handler();
  }

}

static void MX_USART1_UART_Init(void)
{

  huart1.Instance = USART1;
  huart1.Init.BaudRate = 115200;
  huart1.Init.WordLength = UART_WORDLENGTH_8B;
  huart1.Init.StopBits = UART_STOPBITS_1;
  huart1.Init.Parity = UART_PARITY_NONE;
  huart1.Init.Mode = UART_MODE_TX_RX;
  huart1.Init.HwFlowCtl = UART_HWCONTROL_NONE;
  huart1.Init.OverSampling = UART_OVERSAMPLING_16;
  huart1.Init.OneBitSampling = UART_ONE_BIT_SAMPLE_DISABLE;
  huart1.Init.ClockPrescaler = UART_PRESCALER_DIV1;
  huart1.AdvancedInit.AdvFeatureInit = UART_ADVFEATURE_SWAP_INIT|UART_ADVFEATURE_RXOVERRUNDISABLE_INIT
                              |UART_ADVFEATURE_DMADISABLEONERROR_INIT;
  huart1.AdvancedInit.Swap = UART_ADVFEATURE_SWAP_ENABLE;
  huart1.AdvancedInit.OverrunDisable = UART_ADVFEATURE_OVERRUN_DISABLE;
  huart1.AdvancedInit.DMADisableonRxError = UART_ADVFEATURE_DMA_DISABLEONRXERROR;
  if (HAL_UART_Init(&huart1) != HAL_OK)
  {
    Error_Handler();
  }
  if (HAL_UARTEx_SetTxFifoThreshold(&huart1, UART_TXFIFO_THRESHOLD_1_8) != HAL_OK)
  {
    Error_Handler();
  }
  if (HAL_UARTEx_SetRxFifoThreshold(&huart1, UART_RXFIFO_THRESHOLD_1_8) != HAL_OK)
  {
    Error_Handler();
  }
  if (HAL_UARTEx_DisableFifoMode(&huart1) != HAL_OK)
  {
    Error_Handler();
  }

}

static void MX_USART2_UART_Init(void)
{

  huart2.Instance = USART2;
  huart2.Init.BaudRate = 2000000;
  huart2.Init.WordLength = UART_WORDLENGTH_8B;
  huart2.Init.StopBits = UART_STOPBITS_1;
  huart2.Init.Parity = UART_PARITY_NONE;
  huart2.Init.Mode = UART_MODE_TX_RX;
  huart2.Init.HwFlowCtl = UART_HWCONTROL_NONE;
  huart2.Init.OverSampling = UART_OVERSAMPLING_16;
  huart2.Init.OneBitSampling = UART_ONE_BIT_SAMPLE_DISABLE;
  huart2.Init.ClockPrescaler = UART_PRESCALER_DIV1;
  huart2.AdvancedInit.AdvFeatureInit = UART_ADVFEATURE_NO_INIT;
  if (HAL_UART_Init(&huart2) != HAL_OK)
  {
    Error_Handler();
  }
  if (HAL_UARTEx_SetTxFifoThreshold(&huart2, UART_TXFIFO_THRESHOLD_1_8) != HAL_OK)
  {
    Error_Handler();
  }
  if (HAL_UARTEx_SetRxFifoThreshold(&huart2, UART_RXFIFO_THRESHOLD_1_8) != HAL_OK)
  {
    Error_Handler();
  }
  if (HAL_UARTEx_DisableFifoMode(&huart2) != HAL_OK)
  {
    Error_Handler();
  }

}

static void MX_DMA_Init(void)
{

  /* DMA controller clock enable */
  __HAL_RCC_DMAMUX1_CLK_ENABLE();
  __HAL_RCC_DMA1_CLK_ENABLE();

  /* DMA interrupt init */
  /* DMA1_Channel1_IRQn interrupt configuration */
  HAL_NVIC_SetPriority(DMA1_Channel1_IRQn, 3, 0);
  HAL_NVIC_EnableIRQ(DMA1_Channel1_IRQn);
  /* DMA1_Channel2_IRQn interrupt configuration */
  HAL_NVIC_SetPriority(DMA1_Channel2_IRQn, 3, 0);
  HAL_NVIC_EnableIRQ(DMA1_Channel2_IRQn);

}

static void MX_GPIO_Init(void)
{
  GPIO_InitTypeDef GPIO_InitStruct = {0};

  /* GPIO Ports Clock Enable */
  __HAL_RCC_GPIOC_CLK_ENABLE();
  __HAL_RCC_GPIOF_CLK_ENABLE();
  __HAL_RCC_GPIOA_CLK_ENABLE();
  __HAL_RCC_GPIOB_CLK_ENABLE();

  /*Configure GPIO pin Output Level */
  HAL_GPIO_WritePin(GPIOC, LED1_Pin|LED2_Pin|LED3_Pin, GPIO_PIN_RESET);

  /*Configure GPIO pin Output Level */
  HAL_GPIO_WritePin(GPIOA, SMPS_CNTRL_GND_Pin|EXTRA1_Pin|DBG_TP_Pin, GPIO_PIN_RESET);

  /*Configure GPIO pin Output Level */
  HAL_GPIO_WritePin(GPIOB, SMPS_CNTRL_OP_Pin|EXTRA5_Pin|EXTRA6_Pin|EXTRA7_Pin
                          |EXTRA4_Pin|EXTRA3_Pin|EXTRA2_Pin|CAN_LED_Pin
                          |FAULT_LED_Pin, GPIO_PIN_RESET);

  /*Configure GPIO pins : LED1_Pin LED2_Pin LED3_Pin */
  GPIO_InitStruct.Pin = LED1_Pin|LED2_Pin|LED3_Pin;
  GPIO_InitStruct.Mode = GPIO_MODE_OUTPUT_PP;
  GPIO_InitStruct.Pull = GPIO_NOPULL;
  GPIO_InitStruct.Speed = GPIO_SPEED_FREQ_LOW;
  HAL_GPIO_Init(GPIOC, &GPIO_InitStruct);

  /*Configure GPIO pins : GREEN_Pin YELLOW_Pin RED_Pin ROTARY_Pin */
  GPIO_InitStruct.Pin = GREEN_Pin|YELLOW_Pin|RED_Pin|ROTARY_Pin;
  GPIO_InitStruct.Mode = GPIO_MODE_IT_RISING_FALLING;
  GPIO_InitStruct.Pull = GPIO_PULLUP;
  HAL_GPIO_Init(GPIOA, &GPIO_InitStruct);

  /*Configure GPIO pin : SMPS_OK_IP_Pin */
  GPIO_InitStruct.Pin = SMPS_OK_IP_Pin;
  GPIO_InitStruct.Mode = GPIO_MODE_IT_RISING_FALLING;
  GPIO_InitStruct.Pull = GPIO_NOPULL;
  HAL_GPIO_Init(SMPS_OK_IP_GPIO_Port, &GPIO_InitStruct);

  /*Configure GPIO pins : SMPS_CNTRL_GND_Pin EXTRA1_Pin DBG_TP_Pin */
  GPIO_InitStruct.Pin = SMPS_CNTRL_GND_Pin|EXTRA1_Pin|DBG_TP_Pin;
  GPIO_InitStruct.Mode = GPIO_MODE_OUTPUT_PP;
  GPIO_InitStruct.Pull = GPIO_NOPULL;
  GPIO_InitStruct.Speed = GPIO_SPEED_FREQ_LOW;
  HAL_GPIO_Init(GPIOA, &GPIO_InitStruct);

  /*Configure GPIO pins : SMPS_CNTRL_OP_Pin EXTRA5_Pin EXTRA6_Pin EXTRA7_Pin
                           EXTRA4_Pin EXTRA3_Pin EXTRA2_Pin CAN_LED_Pin
                           FAULT_LED_Pin */
  GPIO_InitStruct.Pin = SMPS_CNTRL_OP_Pin|EXTRA5_Pin|EXTRA6_Pin|EXTRA7_Pin
                          |EXTRA4_Pin|EXTRA3_Pin|EXTRA2_Pin|CAN_LED_Pin
                          |FAULT_LED_Pin;
  GPIO_InitStruct.Mode = GPIO_MODE_OUTPUT_PP;
  GPIO_InitStruct.Pull = GPIO_NOPULL;
  GPIO_InitStruct.Speed = GPIO_SPEED_FREQ_LOW;
  HAL_GPIO_Init(GPIOB, &GPIO_InitStruct);

  /*Configure GPIO pins : INT_B_Pin INT_A_Pin */
  GPIO_InitStruct.Pin = INT_B_Pin|INT_A_Pin;
  GPIO_InitStruct.Mode = GPIO_MODE_IT_FALLING;
  GPIO_InitStruct.Pull = GPIO_NOPULL;
  HAL_GPIO_Init(GPIOB, &GPIO_InitStruct);

  /* EXTI interrupt init*/
  HAL_NVIC_SetPriority(EXTI0_IRQn, 2, 0);
  HAL_NVIC_EnableIRQ(EXTI0_IRQn);

  HAL_NVIC_SetPriority(EXTI1_IRQn, 2, 0);
  HAL_NVIC_EnableIRQ(EXTI1_IRQn);

  HAL_NVIC_SetPriority(EXTI2_IRQn, 2, 0);
  HAL_NVIC_EnableIRQ(EXTI2_IRQn);

  HAL_NVIC_SetPriority(EXTI3_IRQn, 2, 0);
  HAL_NVIC_EnableIRQ(EXTI3_IRQn);

  HAL_NVIC_SetPriority(EXTI9_5_IRQn, 2, 0);
  HAL_NVIC_EnableIRQ(EXTI9_5_IRQn);

  HAL_NVIC_SetPriority(EXTI15_10_IRQn, 3, 0);
  HAL_NVIC_EnableIRQ(EXTI15_10_IRQn);

}

void Error_Handler(void)
{
  /* USER CODE BEGIN Error_Handler_Debug */
	//TODO here send some error Code to the App.
  /* User can add his own implementation to report the HAL error return state */
  __disable_irq();
  while (1)
  {
  }
  /* USER CODE END Error_Handler_Debug */
}
